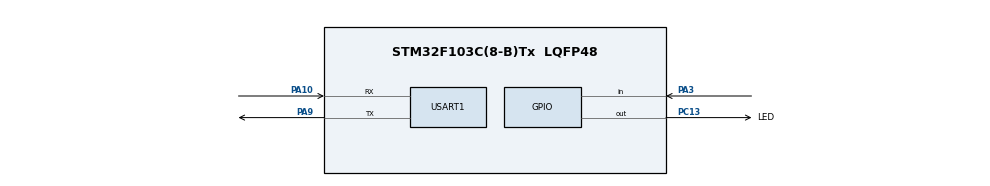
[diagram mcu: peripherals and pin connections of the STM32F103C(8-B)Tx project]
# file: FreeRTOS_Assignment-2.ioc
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FREERTOS.Tasks01=defaultTask,0,128,StartDefaultTask,Default,NULL,Dynamic,NULL,NULL
FREERTOS.configUSE_NEWLIB_REENTRANT=1
Mcu.Family=STM32F1
Mcu.Name=STM32F103C(8-B)Tx
Mcu.Package=LQFP48
NVIC.PriorityGroup=NVIC_PRIORITYGROUP_4
NVIC.TIM4_IRQn=true\:15\:0\:false\:false\:true\:false\:false\:true\:true
NVIC.TimeBase=TIM4_IRQn
NVIC.TimeBaseIP=TIM4
PA10.Mode=Asynchronous
PA10.Signal=USART1_RX
PA13.Mode=Serial_Wire
PA13.Signal=SYS_JTMS-SWDIO
PA14.Mode=Serial_Wire
PA14.Signal=SYS_JTCK-SWCLK
PA3.Signal=GPIO_Input
PA9.Mode=Asynchronous
PA9.Signal=USART1_TX
PC13-TAMPER-RTC.GPIO_Label=LED
PC13-TAMPER-RTC.Signal=GPIO_Output
PD0-OSC_IN.Mode=HSE-External-Oscillator
PD0-OSC_IN.Signal=RCC_OSC_IN
PD1-OSC_OUT.Mode=HSE-External-Oscillator
PD1-OSC_OUT.Signal=RCC_OSC_OUT
ProjectManager.HeapSize=0x200
ProjectManager.StackSize=0x400
ProjectManager.TargetToolchain=STM32CubeIDE
RCC.APB1Freq_Value=8000000
RCC.APB2Freq_Value=8000000
USART1.VirtualMode=VM_ASYNC
VP_FREERTOS_VS_CMSIS_V1.Mode=CMSIS_V1
VP_SYS_VS_tim4.Mode=TIM4
board=custom

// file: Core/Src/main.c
/* USER CODE BEGIN Header */
/**
  ******************************************************************************
  * @file           : main.c
  * @brief          : Main program body
  ******************************************************************************
  * @attention
  *
  * Copyright (c) 2024 STMicroelectronics.
  * All rights reserved.
  *
  * This software is licensed under terms that can be found in the LICENSE file
  * in the root directory of this software component.
  * If no LICENSE file comes with this software, it is provided AS-IS.
  *
  ******************************************************************************
  */
/* USER CODE END Header */
#include "main.h"
#include "cmsis_os.h"

/* USER CODE BEGIN Includes */
#include "string.h"
/* USER CODE END Includes */

/* USER CODE BEGIN PD */
#define LED_PIN GPIO_PIN_13
#define LED_GPIO_PORT GPIOC

#define BUTTON_PIN GPIO_PIN_3
#define BUTTON_GPIO_PORT GPIOA

#define QUEUE_LENGTH 10
#define ITEM_SIZE sizeof(char *)
/* USER CODE END PD */

UART_HandleTypeDef huart1;

osThreadId defaultTaskHandle;
/* USER CODE BEGIN PV */
QueueHandle_t xQueue;
/* USER CODE END PV */

void SystemClock_Config(void);
static void MX_GPIO_Init(void);
static void MX_USART1_UART_Init(void);
void StartDefaultTask(void const * argument);

/* USER CODE BEGIN PFP */
void LED_Task(void *pvParameters);
void BUTTON_Task(void *pvParameters);
void UART_Task(void *pvParameters);
/* USER CODE END PFP */

int main(void)
{

  /* MCU Configuration--------------------------------------------------------*/

  /* Reset of all peripherals, Initializes the Flash interface and the Systick. */
  HAL_Init();

  /* Configure the system clock */
  SystemClock_Config();

  /* Initialize all configured peripherals */
  MX_GPIO_Init();
  MX_USART1_UART_Init();
  /* USER CODE BEGIN 2 */
  xQueue = xQueueCreate(QUEUE_LENGTH, ITEM_SIZE);
   if (xQueue == NULL)
   	  {
           // Error handler
      }
  /* USER CODE END 2 */

  /* Create the thread(s) */
  /* definition and creation of defaultTask */
  xTaskCreate(LED_Task, "LED Task", 128, NULL, 1, NULL);
  xTaskCreate(BUTTON_Task, "Button Task", 128, NULL, 1, NULL);
  xTaskCreate(UART_Task, "UART Task", 128, NULL, 1, NULL);

  /* Start scheduler */
  vTaskStartScheduler();

  /* We should never get here as control is now taken by the scheduler */
  /* Infinite loop */
  while (1)
  {

  }
}

void SystemClock_Config(void)
{
  RCC_OscInitTypeDef RCC_OscInitStruct = {0};
  RCC_ClkInitTypeDef RCC_ClkInitStruct = {0};

  /** Initializes the RCC Oscillators according to the specified parameters
  * in the RCC_OscInitTypeDef structure.
  */
  RCC_OscInitStruct.OscillatorType = RCC_OSCILLATORTYPE_HSI;
  RCC_OscInitStruct.HSIState = RCC_HSI_ON;
  RCC_OscInitStruct.HSICalibrationValue = RCC_HSICALIBRATION_DEFAULT;
  RCC_OscInitStruct.PLL.PLLState = RCC_PLL_NONE;
  if (HAL_RCC_OscConfig(&RCC_OscInitStruct) != HAL_OK)
  {
    Error_Handler();
  }

  /** Initializes the CPU, AHB and APB buses clocks
  */
  RCC_ClkInitStruct.ClockType = RCC_CLOCKTYPE_HCLK|RCC_CLOCKTYPE_SYSCLK
                              |RCC_CLOCKTYPE_PCLK1|RCC_CLOCKTYPE_PCLK2;
  RCC_ClkInitStruct.SYSCLKSource = RCC_SYSCLKSOURCE_HSI;
  RCC_ClkInitStruct.AHBCLKDivider = RCC_SYSCLK_DIV1;
  RCC_ClkInitStruct.APB1CLKDivider = RCC_HCLK_DIV1;
  RCC_ClkInitStruct.APB2CLKDivider = RCC_HCLK_DIV1;

  if (HAL_RCC_ClockConfig(&RCC_ClkInitStruct, FLASH_LATENCY_0) != HAL_OK)
  {
    Error_Handler();
  }
}

static void MX_USART1_UART_Init(void)
{

  huart1.Instance = USART1;
  huart1.Init.BaudRate = 115200;
  huart1.Init.WordLength = UART_WORDLENGTH_8B;
  huart1.Init.StopBits = UART_STOPBITS_1;
  huart1.Init.Parity = UART_PARITY_NONE;
  huart1.Init.Mode = UART_MODE_TX_RX;
  huart1.Init.HwFlowCtl = UART_HWCONTROL_NONE;
  huart1.Init.OverSampling = UART_OVERSAMPLING_16;
  if (HAL_UART_Init(&huart1) != HAL_OK)
  {
    Error_Handler();
  }

}

static void MX_GPIO_Init(void)
{
  GPIO_InitTypeDef GPIO_InitStruct = {0};

  /* GPIO Ports Clock Enable */
  __HAL_RCC_GPIOC_CLK_ENABLE();
  __HAL_RCC_GPIOD_CLK_ENABLE();
  __HAL_RCC_GPIOA_CLK_ENABLE();

  /*Configure GPIO pin Output Level */
  HAL_GPIO_WritePin(LED_GPIO_Port, LED_Pin, GPIO_PIN_RESET);

  /*Configure GPIO pin : LED_Pin */
  GPIO_InitStruct.Pin = LED_Pin;
  GPIO_InitStruct.Mode = GPIO_MODE_OUTPUT_PP;
  GPIO_InitStruct.Pull = GPIO_NOPULL;
  GPIO_InitStruct.Speed = GPIO_SPEED_FREQ_LOW;
  HAL_GPIO_Init(LED_GPIO_Port, &GPIO_InitStruct);

  /*Configure GPIO pin : PA3 */
  GPIO_InitStruct.Pin = GPIO_PIN_3;
  GPIO_InitStruct.Mode = GPIO_MODE_INPUT;
  GPIO_InitStruct.Pull = GPIO_NOPULL;
  HAL_GPIO_Init(GPIOA, &GPIO_InitStruct);

}

/* USER CODE BEGIN 4 */
void LED_Task(void *pvParameters)
{
    char *message;
    for (;;) {
        if (xQueueReceive(xQueue, &message, portMAX_DELAY) == pdPASS) {
            if (strcmp(message, "TOGGLE") == 0) {
                HAL_GPIO_TogglePin(LED_GPIO_PORT, LED_PIN);
            } else if (strcmp(message, "ON") == 0) {
                HAL_GPIO_WritePin(LED_GPIO_PORT, LED_PIN, GPIO_PIN_SET);
            } else if (strcmp(message, "OFF") == 0) {
                HAL_GPIO_WritePin(LED_GPIO_PORT, LED_PIN, GPIO_PIN_RESET);
            }
        }
    }
}

void BUTTON_Task(void *pvParameters)
{
    static GPIO_PinState lastState = GPIO_PIN_RESET;
    GPIO_PinState currentState;
    for (;;) {
        currentState = HAL_GPIO_ReadPin(BUTTON_GPIO_PORT, BUTTON_PIN);
        if (currentState != lastState) {
            if (currentState == GPIO_PIN_SET) {
                char *msg = "TOGGLE";
                xQueueSend(xQueue, &msg, 0);
            }
            lastState = currentState;
        }
        vTaskDelay(pdMS_TO_TICKS(50));
    }
}

void UART_Task(void *pvParameters)
{
    char *uartMsg;
    char recvChar;
    for (;;) {
        if (HAL_UART_Receive(&huart1, (uint8_t *)&recvChar, 1, HAL_MAX_DELAY) == HAL_OK) {
            switch(recvChar) {
                case '\r':
                case '\n':
                    if (uartMsg != NULL) {
                        xQueueSend(xQueue, &uartMsg, 0);
                        uartMsg = NULL;
                    }
                    break;
                default:
                    // Accumulate characters to form a command word
                    strncat(uartMsg, &recvChar, 1);
                    break;
            }
        }
    }
}
/* USER CODE END 4 */

void StartDefaultTask(void const * argument)
{
  for(;;)
  {
    osDelay(1);
  }
}

void HAL_TIM_PeriodElapsedCallback(TIM_HandleTypeDef *htim)
{
  if (htim->Instance == TIM4) {
    HAL_IncTick();
  }
}

void Error_Handler(void)
{
  __disable_irq();
  while (1)
  {
  }
}
